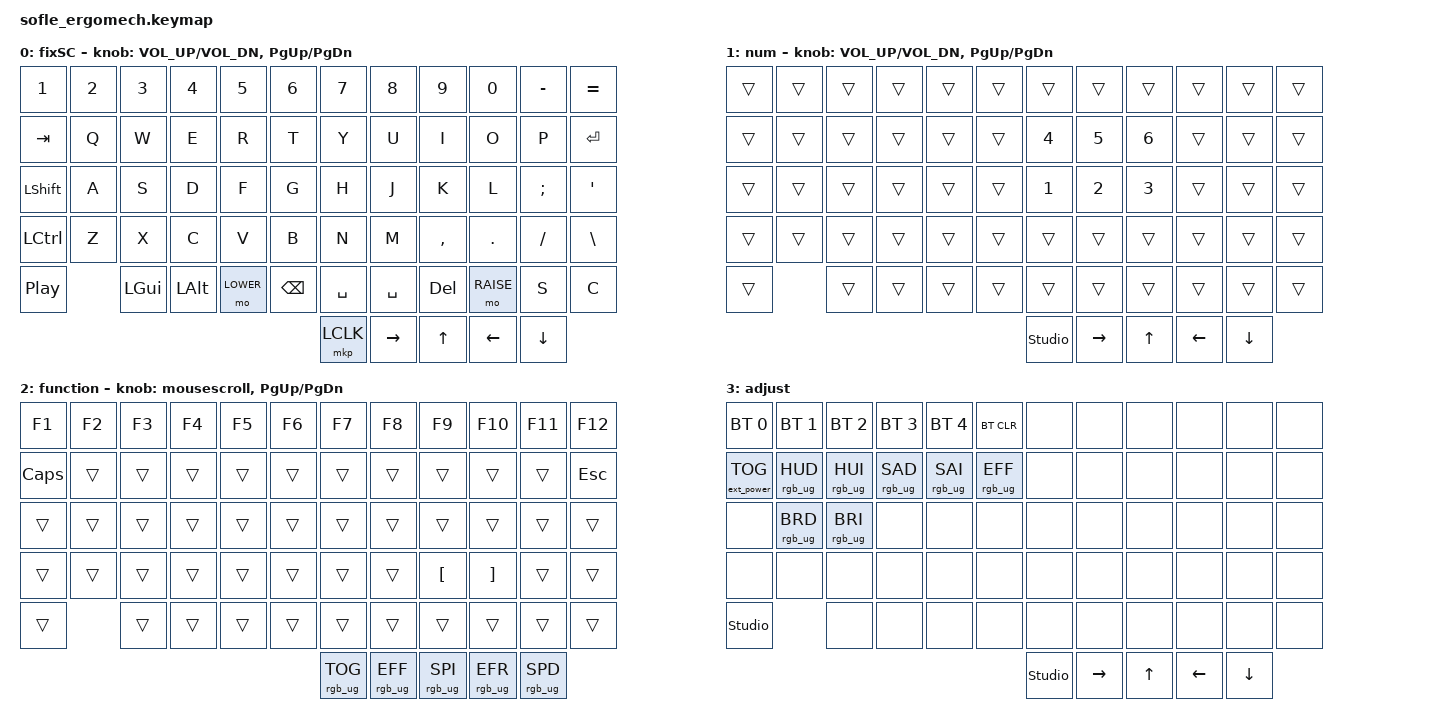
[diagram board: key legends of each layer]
/*
 * Copyright (c) 2020 The ZMK Contributors
 *
 * SPDX-License-Identifier: MIT
 */
#define ZMK_POINTING_DEFAULT_SCRL_VAL 300
#include <dt-bindings/zmk/pointing.h>
#include <behaviors.dtsi>
#include <dt-bindings/zmk/bt.h>
#include <dt-bindings/zmk/ext_power.h>
#include <dt-bindings/zmk/keys.h>
#include <dt-bindings/zmk/rgb.h>

#define BASE 0
#define LOWER 1
#define RAISE 2
#define ADJUST 3

/ {
    // Activate ADJUST layer by pressing raise and lower

    conditional_layers {
        compatible = "zmk,conditional-layers";

        adjust_layer {
            if-layers = <LOWER RAISE>;
            then-layer = <ADJUST>;
        };
    };	
	
	behaviors {
        mousescroll: mousescroll {
            compatible = "zmk,behavior-sensor-rotate";
            #sensor-binding-cells = <0>;
            bindings = <&msc SCRL_UP>, <&msc SCRL_DOWN>;
			tap-ms = <20>;
        };
    };

    keymap {
        compatible = "zmk,keymap";

        default_layer {
            label = "fixSC";

            // ------------------------------------------------------------------------------------------------------------
            // |   1   |  2  |  3  |  4   |  5   |  6   |                   |  7   |  8    |  9    |  0   |   -   |   =   |
            // |  TAB  |  Q  |  W  |  E   |  R   |  T   |                   |  Y   |  U    |  I    |  O   |   P   | ENTER |
            // | SHIFT |  A  |  S  |  D   |  F   |  G   |                   |  H   |  J    |  K    |  L   |   ;   |   '   |
            // | LCTRL |  Z  |  X  |  C   |  V   |  B   |PLAY/PAUSE| |      |  N   |  M    |  ,    |  .   |   /   |   \   |
            //               | GUI | ALT  | NUM  | BSPC |  SPACE |  | SPACE | DEL  |FUNCTION| S  | C  |

            bindings = <
&kp N1      &kp N2    &kp N3    &kp N4     &kp N5     &kp N6   &kp N7     &kp N8     &kp N9        &kp N0    &kp MINUS &kp EQUAL
&kp TAB     &kp Q     &kp W     &kp E      &kp R      &kp T    &kp Y      &kp U      &kp I         &kp O     &kp P     &kp ENTER
&kp LSHFT   &kp A     &kp S     &kp D      &kp F      &kp G    &kp H      &kp J      &kp K         &kp L     &kp SEMI  &kp SQT
&kp LCTRL   &kp Z     &kp X     &kp C      &kp V      &kp B    &kp N      &kp M      &kp COMMA     &kp DOT   &kp FSLH  &kp BSLH
&kp C_PLAY_PAUSE   &kp LGUI   &kp LALT   &mo LOWER   &kp BSPC   &kp SPACE   &kp SPACE   &kp DEL   &mo RAISE   &kp S   &kp C
                                                                  &mkp LCLK  &kp RIGHT  &kp UP  &kp LEFT  &kp DOWN
            >;

            sensor-bindings = <&inc_dec_kp C_VOL_UP C_VOL_DN &inc_dec_kp PG_UP PG_DN>;
        };

        lower_layer {
            label = "num";

            // TODO: Some binds are waiting for shifted keycode support.
            // ------------------------------------------------------------------------------------------------------------
            // | TRAN | TRAN | TRAN | TRAN | TRAN | TRAN |                   |  7   |  8   |  9   |  0   | TRAN | TRAN |
            // | TRAN | TRAN | TRAN | TRAN | TRAN | TRAN |                   |  4   |  5   |  6   | TRAN | TRAN | TRAN |
            // | TRAN | TRAN | TRAN | TRAN | TRAN | TRAN |                   |  1   |  2   |  3   | TRAN | TRAN | TRAN |
            // | TRAN | TRAN | TRAN | TRAN | TRAN | TRAN |   TRAN   | |      | TRAN | TRAN | TRAN | TRAN | TRAN | TRAN |
            //               | TRAN | TRAN | TRAN | TRAN | TRAN |  | TRAN | TRAN | TRAN | TRAN | TRAN | TRAN |

           bindings = <
&trans     &trans     &trans     &trans     &trans     &trans          &trans     &trans     &trans     &trans     &trans     &trans
&trans     &trans     &trans     &trans     &trans     &trans          &kp N4     &kp N5     &kp N6     &trans     &trans     &trans
&trans     &trans     &trans     &trans     &trans     &trans          &kp N1     &kp N2     &kp N3     &trans     &trans     &trans
&trans     &trans     &trans     &trans     &trans     &trans          &trans     &trans     &trans     &trans     &trans     &trans
&trans     &trans     &trans     &trans   &trans     &trans     &trans     &trans     &trans     &trans     &trans
                                                                  &studio_unlock &kp RIGHT  &kp UP  &kp LEFT  &kp DOWN
            >;

			sensor-bindings = <&inc_dec_kp C_VOL_UP C_VOL_DN &inc_dec_kp PG_UP PG_DN>;
        };

        raise_layer {
            label = "function";

            // ------------------------------------------------------------------------------------------------------------
            // |  F1  |  F2  |  F3  |  F4  |  F5  |  F6  |                   |  F7  |  F8  |  F9  |  F10 |  F11 |  F12 |
            // | CAPS | TRAN | TRAN | TRAN | TRAN | TRAN |                   | TRAN | TRAN | TRAN | TRAN | TRAN | ESC  |
            // | TRAN | TRAN | TRAN | TRAN | TRAN | TRAN |                   | TRAN | TRAN | TRAN | TRAN | TRAN | TRAN |  
            // | TRAN | TRAN | TRAN | TRAN | TRAN | TRAN | TRAN  | |      | TRAN | TRAN |  [{  |  ]}  | TRAN | TRAN |
            //               | TRAN | TRAN | TRAN | TRAN | TRAN |  | TRAN | TRAN | TRAN | TRAN | TRAN | TRAN |

           bindings = <
&kp F1     &kp F2     &kp F3     &kp F4     &kp F5     &kp F6          &kp F7     &kp F8     &kp F9     &kp F10    &kp F11    &kp F12
&kp CAPS   &trans     &trans     &trans     &trans     &trans          &trans     &trans     &trans     &trans     &trans     &kp ESC
&trans     &trans     &trans     &trans     &trans     &trans          &trans     &trans     &trans     &trans     &trans     &trans
&trans     &trans     &trans     &trans     &trans     &trans          &trans     &trans     &kp LBKT   &kp RBKT     &trans     &trans
&trans     &trans     &trans     &trans     &trans     &trans     &trans     &trans     &trans     &trans     &trans
                                                               &rgb_ug RGB_TOG  &rgb_ug RGB_EFF  &rgb_ug RGB_SPI  &rgb_ug RGB_EFR  &rgb_ug RGB_SPD
            >;

            sensor-bindings = <&mousescroll &inc_dec_kp PG_UP PG_DN>;
        };

        adjust_layer {
            // ----------------------------------------------------------------------------------------------------------------------------
            // |  BT0   |   BT1   |   BT2   |   BT3   |   BT4   |  BTCLR  |                  |      |      |       |      |       |       |
            // | EXTPWR | RGB_HUD | RGB_HUI | RGB_SAD | RGB_SAI | RGB_EFF |                  |      |      |       |      |       |       |
            // |        | RGB_BRD | RGB_BRI |         |         |         |                  |      |      |       |      |       |       |
            // |        |         |         |         |         |         | RGB_TOG | |      |      |      |       |      |       |       |
            //                    |         |         |         |         |         | |      |      |      |       |      |

            label = "adjust";
            bindings = <
&bt BT_SEL 0       &bt BT_SEL 1     &bt BT_SEL 2     &bt BT_SEL 3     &bt BT_SEL 4     &bt BT_CLR       &none  &none  &none  &none  &none  &none
&ext_power EP_TOG  &rgb_ug RGB_HUD  &rgb_ug RGB_HUI  &rgb_ug RGB_SAD  &rgb_ug RGB_SAI  &rgb_ug RGB_EFF  &none  &none  &none  &none  &none  &none
&none              &rgb_ug RGB_BRD  &rgb_ug RGB_BRI  &none            &none            &none            &none  &none  &none  &none  &none  &none
&none              &none            &none            &none            &none            &none            &none  &none  &none  &none  &none  &none
&studio_unlock     &none            &none            &none            &none            &none            &none  &none  &none  &none  &none
                                                                                                        &studio_unlock  &kp RIGHT  &kp UP  &kp LEFT  &kp DOWN
            >;
        };
    };
};
